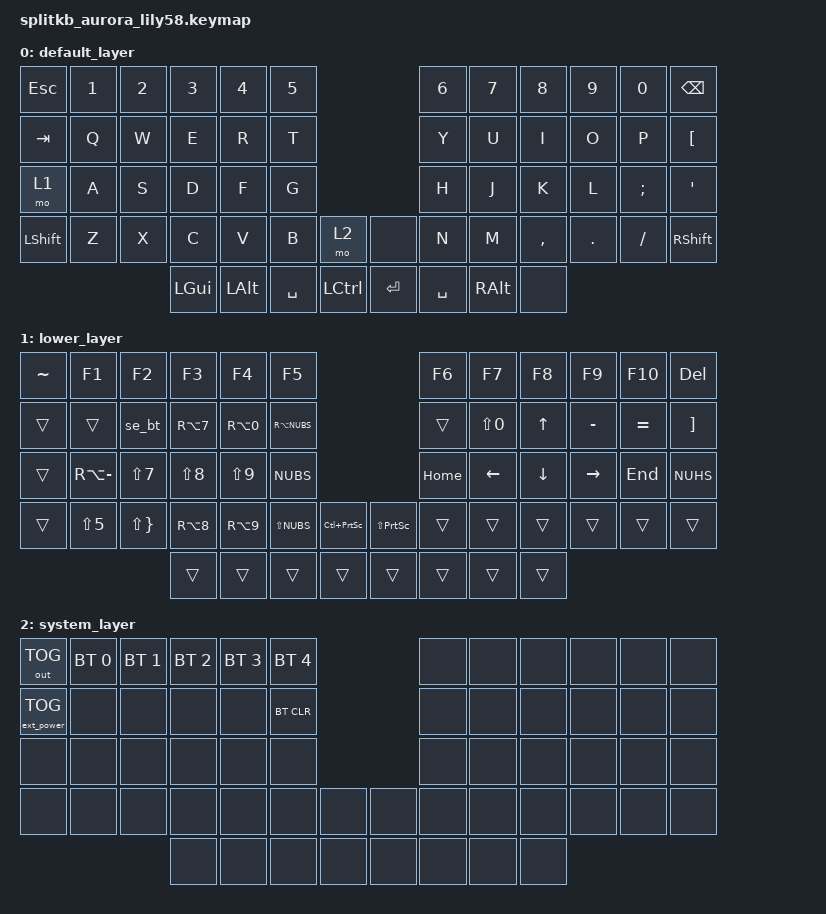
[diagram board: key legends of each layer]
/*
 * Copyright (c) 2022 The ZMK Contributors
 *
 * SPDX-License-Identifier: MIT
 */

#include <behaviors.dtsi>
#include <dt-bindings/zmk/keys.h>
#include <dt-bindings/zmk/bt.h>
#include <dt-bindings/zmk/ext_power.h>
#include <dt-bindings/zmk/outputs.h>

#define SE_AA LBKT // Å
#define SE_AE APOS // Ä
#define SE_O  SEMI // Ö


/ {
    macros {
        se_bt: se_bt {
            label = "SE_backtick";
            compatible = "zmk,behavior-macro";
            #binding-cells = <0>;
            bindings
                = <&macro_tap &kp LS(EQUAL) &kp SPACE>
                ;
        };
    };

    keymap {
        compatible = "zmk,keymap";

        default_layer {
// ------------------------------------------------------------------------------------------------------------
// |  ESC  |  1  |  2  |  3   |  4   |  5   |                   |  6   |  7    |  8    |  9   |   0   |  BSPC |
// |  TAB  |  Q  |  W  |  E   |  R   |  T   |                   |  Y   |  U    |  I    |  O   |   P   |   Å   |
// | RAISE |  A  |  S  |  D   |  F   |  G   |                   |  H   |  J    |  K    |  L   |   Ö   |   Ä   |
// | SHIFT |  Z  |  X  |  C   |  V   |  B   |  MO 2  |  |       |  N   |  M    |  ,    |  .   |   -   | SHIFT |
//                     | GUI  | ALT  | SPACE|  LCTRL |  | ENTER | SPACE|  ALT  |       |
            bindings = <
&kp ESC   &kp N1 &kp N2 &kp N3   &kp N4   &kp N5                        &kp N6    &kp N7   &kp N8    &kp N9  &kp N0   &kp BACKSPACE
&kp TAB   &kp Q  &kp W  &kp E    &kp R    &kp T                         &kp Y     &kp U    &kp I     &kp O   &kp P    &kp SE_AA
&mo 1     &kp A  &kp S  &kp D    &kp F    &kp G                         &kp H     &kp J    &kp K     &kp L   &kp SE_O &kp SE_AE
&kp LSHFT &kp Z  &kp X  &kp C    &kp V    &kp B     &mo 2      &none    &kp N     &kp M    &kp COMMA &kp DOT &kp FSLH &kp RSHFT
                        &kp LGUI &kp LALT &kp SPACE &kp LCTRL  &kp RET  &kp SPACE &kp RALT &none
            >;
        };

        lower_layer {
// ------------------------------------------------------------------------------------------------------------
// | TILDE | F1  | F2  |  F3  |  F4  |  F5  |                   |  F6  |  F7   |  F8   |  F9  |  F10  |  DEL  |
// |       |     |  `  |  {   |  }   |  |   |                   |      |   =   |  UP   |  +   |   \   |   ¨   |
// |       |  \  |  /  |  (   |  )   |  <   |                   | HOME |  LEFT |  DOWN | RIGHT|  END  |   ~   |
// |       |  %  |  ^  |  [   |  ]   |  >   | scrcap |  |vidcap |      |       |       |      |       |       |
//                     |      |      |      |        |  |       |      |       |       |
            bindings = <
&kp TILDE &kp F1        &kp F2       &kp F3     &kp F4     &kp F5                                    &kp F6   &kp F7     &kp F8   &kp F9    &kp F10   &kp DEL
&trans    &trans        &se_bt       &kp RA(N7) &kp RA(N0) &kp RA(NUBS)                              &trans   &kp LS(N0) &kp UP   &kp MINUS &kp EQUAL &kp RIGHT_BRACKET
&trans    &kp RA(MINUS) &kp LS(N7)   &kp LS(N8) &kp LS(N9) &kp NUBS                                  &kp HOME &kp LEFT   &kp DOWN &kp RIGHT &kp END   &kp NUHS
&trans    &kp LS(N5)    &kp LS(RBRC) &kp RA(N8) &kp RA(N9) &kp LS(NUBS) &kp LC(PSCRN)  &kp LS(PSCRN) &trans   &trans     &trans   &trans    &trans    &trans
                                     &trans     &trans     &trans       &trans         &trans        &trans   &trans     &trans
            >;
        };

        system_layer {
// ------------------------------------------------------------------------------------------------------------
// | EP_TOG | BT1 | BT2 | BT3 | BT4 | BT5    |                   |       |   |      |   |   |   |
// |        |     |     |     |     | BT_CLR |                   |       |   |      |   |   |   |
// |        |     |     |     |     |        |                   |       |   |      |   |   |   |
// |        |     |     |     |     |        |        |  |       |       |   |      |   |   |   |
//                     |      |     |        |        |  |       |       |   |      |
            bindings = <
&out OUT_TOG      &bt BT_SEL 0 &bt BT_SEL 1 &bt BT_SEL 2 &bt BT_SEL 3 &bt BT_SEL 4             &none &none &none &none &none &none
&ext_power EP_TOG &none        &none        &none        &none        &bt BT_CLR               &none &none &none &none &none &none
&none             &none        &none        &none        &none        &none                    &none &none &none &none &none &none
&none             &none        &none        &none        &none        &none     &none   &none  &none &none &none &none &none &none
                                            &none        &none        &none     &none   &none  &none &none &none
            >;
        };
    };
};
